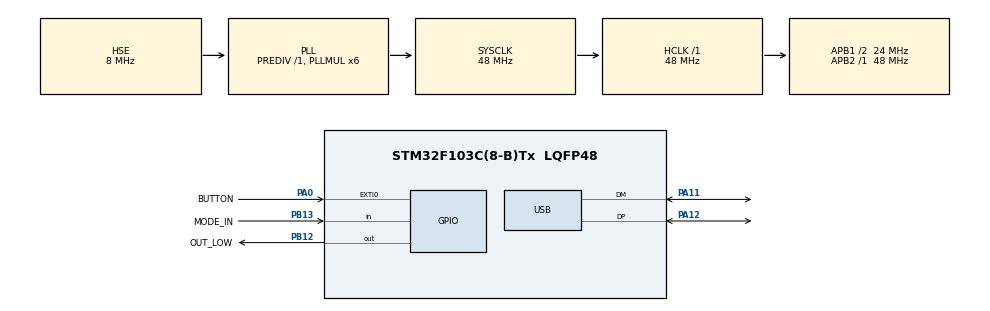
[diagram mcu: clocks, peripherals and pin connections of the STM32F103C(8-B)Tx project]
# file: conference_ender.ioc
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Mcu.Family=STM32F1
PC15-OSC32_OUT.Mode=LSE-External-Oscillator
USB_DEVICE.CLASS_NAME_FS=HID
PD1-OSC_OUT.Mode=HSE-External-Oscillator
USB_DEVICE.VirtualModeFS=Hid_FS
USB_DEVICE.PRODUCT_STRING_HID_FS=Best Button for Mr Sivak
PA11.Mode=Device
PD0-OSC_IN.Signal=RCC_OSC_IN
RCC.APB1CLKDivider=RCC_HCLK_DIV2
PC14-OSC32_IN.Signal=RCC_OSC32_IN
PB13.GPIO_Label=MODE_IN
PB13.Signal=GPIO_Input
PA0-WKUP.GPIO_ModeDefaultEXTI=GPIO_MODE_IT_RISING_FALLING
RCC.SYSCLKSource=RCC_SYSCLKSOURCE_PLLCLK
ProjectManager.StackSize=0x400
PA0-WKUP.GPIO_Label=BUTTON
PA0-WKUP.Signal=GPXTI0
PD1-OSC_OUT.Signal=RCC_OSC_OUT
PA13.Signal=SYS_JTMS-SWDIO
USB_DEVICE.MANUFACTURER_STRING=Devboozers Inc.
USB_DEVICE.PID_HID_FS=0x2017
PA12.Signal=USB_DP
USB_DEVICE.VID=0x03EB
ProjectManager.TargetToolchain=MDK-ARM V5.27
RCC.HCLKFreq_Value=48000000
RCC.APB2TimFreq_Value=48000000
RCC.USBFreq_Value=48000000
PC15-OSC32_OUT.Signal=RCC_OSC32_OUT
RCC.AHBFreq_Value=48000000
PD0-OSC_IN.Mode=HSE-External-Oscillator
PB12.GPIO_ModeDefaultOutputPP=GPIO_MODE_OUTPUT_PP
board=custom
RCC.PLLMUL=RCC_PLL_MUL6
PB12.GPIO_Label=OUT_LOW
PB13.GPIO_PuPd=GPIO_PULLUP
VP_USB_DEVICE_VS_USB_DEVICE_HID_FS.Mode=HID_FS
RCC.APB2Freq_Value=48000000
PC14-OSC32_IN.Mode=LSE-External-Oscillator
PA14.Mode=Serial_Wire
NVIC.USB_LP_CAN1_RX0_IRQn=true\:0\:0\:false\:false\:true\:false\:true
PA13.Mode=Serial_Wire
Mcu.Name=STM32F103C(8-B)Tx
NVIC.EXTI0_IRQn=true\:0\:0\:false\:false\:true\:true\:true
RCC.SYSCLKFreq_VALUE=48000000
Mcu.Package=LQFP48
PA12.Mode=Device
PA11.Signal=USB_DM
PA14.Signal=SYS_JTCK-SWCLK
ProjectManager.HeapSize=0x200
NVIC.PriorityGroup=NVIC_PRIORITYGROUP_4
RCC.APB1TimFreq_Value=48000000
PA0-WKUP.GPIO_PuPd=GPIO_PULLUP
PB12.GPIO_PuPd=GPIO_PULLDOWN
RCC.APB1Freq_Value=24000000
USB_DEVICE.VirtualMode=Hid
PB12.Signal=GPIO_Output

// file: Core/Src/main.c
/* USER CODE BEGIN Header */
/**
  ******************************************************************************
  * @file           : main.c
  * @brief          : Main program body
  ******************************************************************************
  * @attention
  *
  * <h2><center>&copy; Copyright (c) 2021 STMicroelectronics.
  * All rights reserved.</center></h2>
  *
  * This software component is licensed by ST under Ultimate Liberty license
  * SLA0044, the "License"; You may not use this file except in compliance with
  * the License. You may obtain a copy of the License at:
  *                             www.st.com/SLA0044
  *
  ******************************************************************************
  */
/* USER CODE END Header */
#include "main.h"
#include "usb_device.h"

/* USER CODE BEGIN Includes */
#include "usbd_hid.h"
/* USER CODE END Includes */

/* USER CODE BEGIN PTD */
typedef struct
{
  uint32_t time_last;
	uint8_t pin_state						:1;
	uint8_t prev_state					:1;
	uint8_t current_state				:1;
	uint8_t changed							:1;
	//uint8_t cnt;

} button_t;

uint8_t mode = 0;
uint8_t ctrl_symb = 0;

/* USER CODE END PTD */

/* USER CODE BEGIN PM */

#define DEBOUNCE_TICKS							30
#define REPORT_SIZE									8

/* USER CODE END PM */

/* USER CODE BEGIN PV */
extern USBD_HandleTypeDef hUsbDeviceFS;
volatile button_t button;

uint8_t report_buf[REPORT_SIZE] = {0};
/* USER CODE END PV */

void SystemClock_Config(void);
static void MX_GPIO_Init(void);

/* USER CODE BEGIN 0 */
void HAL_GPIO_EXTI_Callback(uint16_t GPIO_Pin)
{
	if (GPIO_Pin == BUTTON_Pin)
	{
		button.time_last = HAL_GetTick();
		button.pin_state = HAL_GPIO_ReadPin(BUTTON_GPIO_Port, BUTTON_Pin);
		button.changed = 1;
	}
}
/* USER CODE END 0 */

int main(void)
{

  /* MCU Configuration--------------------------------------------------------*/

  /* Reset of all peripherals, Initializes the Flash interface and the Systick. */
  HAL_Init();

  /* Configure the system clock */
  SystemClock_Config();

  /* Initialize all configured peripherals */
  MX_GPIO_Init();
  MX_USB_DEVICE_Init();
  /* USER CODE BEGIN 2 */

	button.pin_state = 1;
	button.current_state = 1;

  /* USER CODE END 2 */

  /* Infinite loop */
  /* USER CODE BEGIN WHILE */
  while (1)
  {
		// Button debounce
		if (button.changed && (HAL_GetTick() - button.time_last >= DEBOUNCE_TICKS))
		{
			button.changed = 0;
			button.prev_state = button.current_state;
			button.current_state = button.pin_state;
		}

		mode = HAL_GPIO_ReadPin(MODE_IN_GPIO_Port, MODE_IN_Pin);

		ctrl_symb = mode ? 0x01 : 0x08;

		report_buf[0] = !button.current_state ? ctrl_symb : 0x00;		// CTRL/COMMAND
		report_buf[2] = !button.current_state ? 0x1a : 0x00;				// W

		USBD_HID_SendReport(&hUsbDeviceFS, report_buf, REPORT_SIZE);

		if (!button.current_state && button.changed)
		{
			HAL_Delay(500);
			report_buf[0] = 0x00;
			report_buf[2] = 0x28;	// Enter

			USBD_HID_SendReport(&hUsbDeviceFS, report_buf, REPORT_SIZE);
		}
		HAL_Delay(10);
    /* USER CODE END WHILE */

  }
}

void SystemClock_Config(void)
{
  RCC_OscInitTypeDef RCC_OscInitStruct = {0};
  RCC_ClkInitTypeDef RCC_ClkInitStruct = {0};
  RCC_PeriphCLKInitTypeDef PeriphClkInit = {0};

  /** Initializes the RCC Oscillators according to the specified parameters
  * in the RCC_OscInitTypeDef structure.
  */
  RCC_OscInitStruct.OscillatorType = RCC_OSCILLATORTYPE_HSE;
  RCC_OscInitStruct.HSEState = RCC_HSE_ON;
  RCC_OscInitStruct.HSEPredivValue = RCC_HSE_PREDIV_DIV1;
  RCC_OscInitStruct.HSIState = RCC_HSI_ON;
  RCC_OscInitStruct.PLL.PLLState = RCC_PLL_ON;
  RCC_OscInitStruct.PLL.PLLSource = RCC_PLLSOURCE_HSE;
  RCC_OscInitStruct.PLL.PLLMUL = RCC_PLL_MUL6;
  if (HAL_RCC_OscConfig(&RCC_OscInitStruct) != HAL_OK)
  {
    Error_Handler();
  }
  /** Initializes the CPU, AHB and APB buses clocks
  */
  RCC_ClkInitStruct.ClockType = RCC_CLOCKTYPE_HCLK|RCC_CLOCKTYPE_SYSCLK
                              |RCC_CLOCKTYPE_PCLK1|RCC_CLOCKTYPE_PCLK2;
  RCC_ClkInitStruct.SYSCLKSource = RCC_SYSCLKSOURCE_PLLCLK;
  RCC_ClkInitStruct.AHBCLKDivider = RCC_SYSCLK_DIV1;
  RCC_ClkInitStruct.APB1CLKDivider = RCC_HCLK_DIV2;
  RCC_ClkInitStruct.APB2CLKDivider = RCC_HCLK_DIV1;

  if (HAL_RCC_ClockConfig(&RCC_ClkInitStruct, FLASH_LATENCY_1) != HAL_OK)
  {
    Error_Handler();
  }
  PeriphClkInit.PeriphClockSelection = RCC_PERIPHCLK_USB;
  PeriphClkInit.UsbClockSelection = RCC_USBCLKSOURCE_PLL;
  if (HAL_RCCEx_PeriphCLKConfig(&PeriphClkInit) != HAL_OK)
  {
    Error_Handler();
  }
}

static void MX_GPIO_Init(void)
{
  GPIO_InitTypeDef GPIO_InitStruct = {0};

  /* GPIO Ports Clock Enable */
  __HAL_RCC_GPIOC_CLK_ENABLE();
  __HAL_RCC_GPIOD_CLK_ENABLE();
  __HAL_RCC_GPIOA_CLK_ENABLE();
  __HAL_RCC_GPIOB_CLK_ENABLE();

  /*Configure GPIO pin Output Level */
  HAL_GPIO_WritePin(OUT_LOW_GPIO_Port, OUT_LOW_Pin, GPIO_PIN_RESET);

  /*Configure GPIO pin : BUTTON_Pin */
  GPIO_InitStruct.Pin = BUTTON_Pin;
  GPIO_InitStruct.Mode = GPIO_MODE_IT_RISING_FALLING;
  GPIO_InitStruct.Pull = GPIO_PULLUP;
  HAL_GPIO_Init(BUTTON_GPIO_Port, &GPIO_InitStruct);

  /*Configure GPIO pin : OUT_LOW_Pin */
  GPIO_InitStruct.Pin = OUT_LOW_Pin;
  GPIO_InitStruct.Mode = GPIO_MODE_OUTPUT_PP;
  GPIO_InitStruct.Pull = GPIO_PULLDOWN;
  GPIO_InitStruct.Speed = GPIO_SPEED_FREQ_LOW;
  HAL_GPIO_Init(OUT_LOW_GPIO_Port, &GPIO_InitStruct);

  /*Configure GPIO pin : MODE_IN_Pin */
  GPIO_InitStruct.Pin = MODE_IN_Pin;
  GPIO_InitStruct.Mode = GPIO_MODE_INPUT;
  GPIO_InitStruct.Pull = GPIO_PULLUP;
  HAL_GPIO_Init(MODE_IN_GPIO_Port, &GPIO_InitStruct);

  /* EXTI interrupt init*/
  HAL_NVIC_SetPriority(EXTI0_IRQn, 0, 0);
  HAL_NVIC_EnableIRQ(EXTI0_IRQn);

}

void Error_Handler(void)
{
  __disable_irq();
  while (1)
  {
  }
}

/************************ (C) COPYRIGHT STMicroelectronics *****END OF FILE****/
